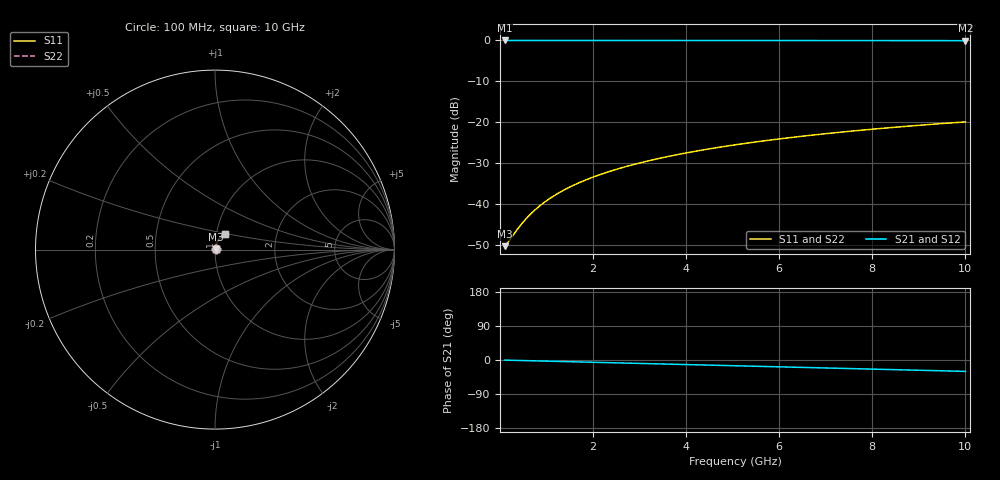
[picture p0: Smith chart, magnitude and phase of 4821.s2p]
# Hz S RI R 50.00
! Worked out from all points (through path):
!   100 points, 100 MHz to 10 GHz, reference 50 ohm
!   highest |S21| = -0.03 dB at 100 MHz (marker M1); lowest = -0.1 dB at 10 GHz (marker M2)
!   group delay of S21, straight-line fit = 8.35 ps
!   lowest |S11| = -50.3 dB at 100 MHz (marker M3), VSWR 1.01, Z = 50.3 + j0.105 ohm
!   |S11| at or under -10 dB: start of sweep to end of sweep
!   |S22| runs from -50.3 to -19.9 dB; largest |S21 - S12| = 0
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1e8  0.00288 0.00105  0.9971 -0.00523  0.9971 -0.00523  0.00288 0.00105
2e8  0.00292 0.00209  0.997 -0.0105  0.997 -0.0105  0.00292 0.00209
4e8  0.00301 0.00418  0.9968 -0.0209  0.9968 -0.0209  0.00301 0.00418
5e8  0.00306 0.00523  0.9967 -0.0261  0.9967 -0.0261  0.00306 0.00523
6e8  0.00313 0.00627  0.9965 -0.0314  0.9965 -0.0314  0.00313 0.00627
7e8  0.00321 0.00731  0.9963 -0.0366  0.9963 -0.0366  0.00321 0.00731
8e8  0.0033 0.00835  0.9961 -0.0418  0.9961 -0.0418  0.0033 0.00835
1e9  0.0035 0.0104  0.9956 -0.0523  0.9956 -0.0523  0.0035 0.0104
1.2e9  0.00375 0.0125  0.9949 -0.0627  0.9949 -0.0627  0.00375 0.0125
1.5e9  0.00421 0.0156  0.9938 -0.0783  0.9938 -0.0783  0.00421 0.0156
1.8e9  0.00476 0.0187  0.9923 -0.094  0.9923 -0.094  0.00476 0.0187
2.1e9  0.00541 0.0218  0.9906 -0.1096  0.9906 -0.1096  0.00541 0.0218
2.5e9  0.00642 0.0258  0.988 -0.1303  0.988 -0.1303  0.00642 0.0258
2.9e9  0.0076 0.0298  0.9849 -0.151  0.9849 -0.151  0.0076 0.0298
3.4e9  0.0093 0.0347  0.9804 -0.1768  0.9804 -0.1768  0.0093 0.0347
4.2e9  0.0126 0.0424  0.9718 -0.2177  0.9718 -0.2177  0.0126 0.0424
5.1e9  0.017 0.0507  0.9599 -0.2632  0.9599 -0.2632  0.017 0.0507
5.9e9  0.0216 0.0576  0.9476 -0.3031  0.9476 -0.3031  0.0216 0.0576
6.7e9  0.0267 0.0642  0.9335 -0.3424  0.9335 -0.3424  0.0267 0.0642
7.5e9  0.0324 0.0703  0.9177 -0.381  0.9177 -0.381  0.0324 0.0703
8.4e9  0.0394 0.0765  0.8981 -0.4236  0.8981 -0.4236  0.0394 0.0765
1e10  0.0531 0.0859  0.8582 -0.4966  0.8582 -0.4966  0.0531 0.0859
